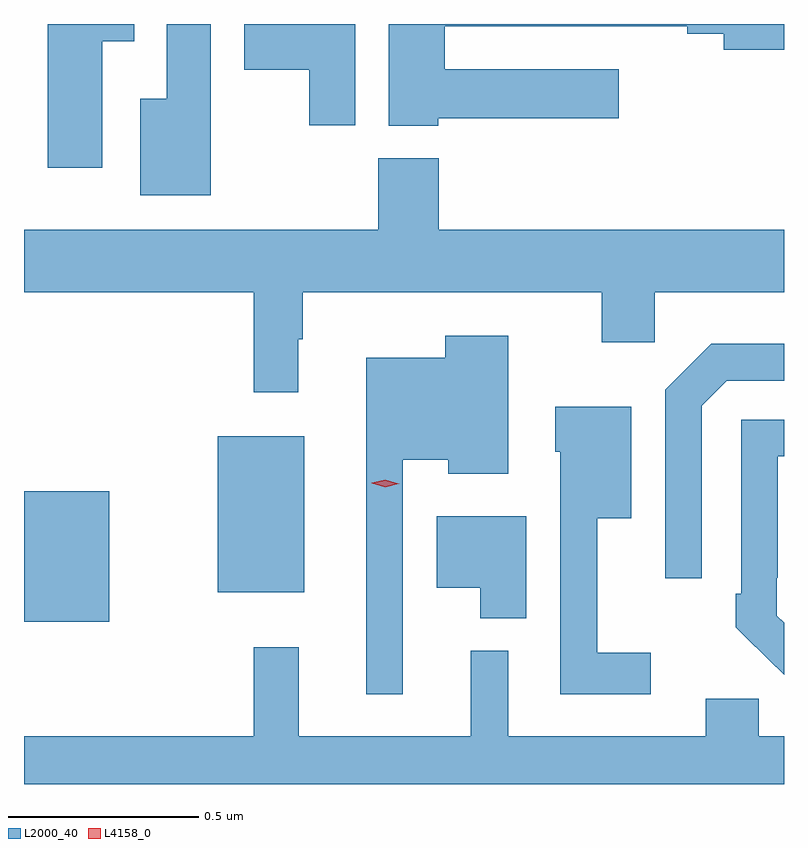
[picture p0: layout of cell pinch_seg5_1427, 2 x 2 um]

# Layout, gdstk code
import gdstk
lib = gdstk.Library(unit=1e-6, precision=1e-09)
def R(c, l, rs):  # rectangles x0, y0, x1, y1
    for r in rs: c.add(gdstk.rectangle(r[:2], r[2:], *l))
def P(c, l, *ps):  # polygons
    for p in ps: c.add(gdstk.Polygon(p, *l))
L2000_40 = (2000, 40)
L4158_0 = (4158, 0)

pinch_seg5_1427 = lib.new_cell('pinch_seg5_1427')
R(pinch_seg5_1427, L2000_40, [(134.42,897.185,134.644,897.529), (134.93,897.263,135.157,897.673)])
P(pinch_seg5_1427, L2000_40, [(134.911,898.758),(134.795,898.758),(134.795,898.561),(134.726,898.561),(134.726,898.307),(134.911,898.307)],
  [(135.292,898.758),(134.999,898.758),(134.999,898.637),(135.17,898.637),(135.17,898.491),(135.292,898.491)],
  [(134.626,898.712),(134.71,898.712),(134.71,898.758),(134.483,898.758),(134.483,898.38),(134.626,898.38)],
  [(135.51,898.51),(135.985,898.51),(135.985,898.639),(135.527,898.639),(135.527,898.752),(136.166,898.752),(136.166,898.732),(136.262,898.732),(136.262,898.69),(136.42,898.69),(136.42,898.758),(135.38,898.758),(135.38,898.49),(135.51,898.49)],
  [(135.142,897.929),(135.154,897.929),(135.154,898.052),(135.941,898.052),(135.941,897.921),(136.08,897.921),(136.08,898.052),(136.42,898.052),(136.42,898.216),(135.512,898.216),(135.512,898.405),(135.352,898.405),(135.352,898.216),(134.42,898.216),(134.42,898.052),(135.025,898.052),(135.025,897.789),(135.142,897.789)],
  [(135.417,897.611),(135.536,897.611),(135.536,897.575),(135.694,897.575),(135.694,897.937),(135.529,897.937),(135.529,897.88),(135.32,897.88),(135.32,896.994),(135.417,896.994)],
  [(136.203,897.753),(136.269,897.819),(136.42,897.819),(136.42,897.916),(136.228,897.916),(136.107,897.795),(136.107,897.3),(136.203,897.3)],
  [(136.069,897.103),(135.929,897.103),(135.929,897.458),(136.018,897.458),(136.018,897.751),(135.818,897.751),(135.818,897.633),(135.831,897.633),(135.831,896.994),(136.069,896.994)],
  [(136.42,897.182),(136.401,897.201),(136.401,897.301),(136.404,897.301),(136.404,897.621),(136.42,897.621),(136.42,897.717),(136.308,897.717),(136.308,897.259),(136.293,897.259),(136.293,897.171),(136.398,897.066),(136.399,897.067),(136.42,897.046)],
  [(135.742,897.463),(135.506,897.463),(135.506,897.275),(135.62,897.275),(135.62,897.194),(135.742,897.194)],
  [(136.42,896.884),(136.353,896.884),(136.353,896.982),(136.214,896.982),(136.214,896.884),(135.694,896.884),(135.694,897.109),(135.596,897.109),(135.596,896.884),(135.143,896.884),(135.143,897.118),(135.025,897.118),(135.025,896.884),(134.42,896.884),(134.42,896.758),(136.42,896.758)])
P(pinch_seg5_1427, L4158_0, [(135.37,897.539),(135.335,897.55),(135.335,897.551),(135.335,897.551),(135.371,897.559),(135.406,897.548),(135.407,897.548),(135.406,897.548)])

lib.write_gds('pinch_seg5_1427.gds')
